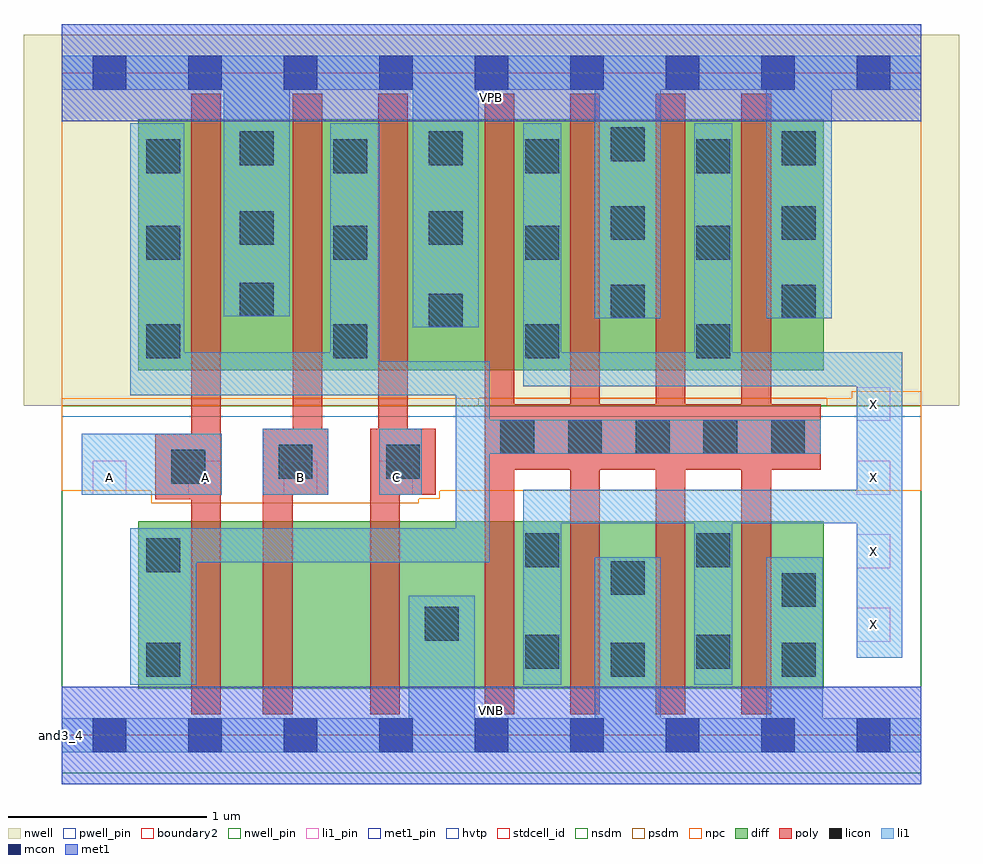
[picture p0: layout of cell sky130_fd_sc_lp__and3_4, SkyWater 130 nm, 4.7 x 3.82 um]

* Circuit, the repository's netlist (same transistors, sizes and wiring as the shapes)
* Copyright 2020 The SkyWater PDK Authors
*
* Licensed under the Apache License, Version 2.0 (the "License");
* you may not use this file except in compliance with the License.
* You may obtain a copy of the License at
*
*     https://www.apache.org/licenses/LICENSE-2.0
*
* Unless required by applicable law or agreed to in writing, software
* distributed under the License is distributed on an "AS IS" BASIS,
* WITHOUT WARRANTIES OR CONDITIONS OF ANY KIND, either express or implied.
* See the License for the specific language governing permissions and
* limitations under the License.
*
* SPDX-License-Identifier: Apache-2.0

.SUBCKT sky130_fd_sc_lp__and3_4 A B C VGND VNB VPB VPWR X
*.PININFO A:I B:I C:I VGND:I VNB:I VPB:I VPWR:I X:O
MMP0 y A VPWR VPB sky130_fd_pr__pfet_01v8_hvt m=1 w=1.26U l=0.15U mult=1 sa=0.265
+ sb=0.265 sd=0.28 area=0.063 perim=1.14
MMP1 y B VPWR VPB sky130_fd_pr__pfet_01v8_hvt m=1 w=1.26U l=0.15U mult=1 sa=0.265
+ sb=0.265 sd=0.28 area=0.063 perim=1.14
MMP2 y C VPWR VPB sky130_fd_pr__pfet_01v8_hvt m=1 w=1.26U l=0.15U mult=1 sa=0.265
+ sb=0.265 sd=0.28 area=0.063 perim=1.14
MMIP0 X y VPWR VPB sky130_fd_pr__pfet_01v8_hvt m=4 w=1.26U l=0.15U mult=1 sa=0.265
+ sb=0.265 sd=0.28 area=0.063 perim=1.14
MMN0 y A sndA VNB sky130_fd_pr__nfet_01v8 m=1 w=0.84U l=0.15U mult=1 sa=0.265 sb=0.265
+ sd=0.28 area=0.063 perim=1.14
MMN1 sndA B sndB VNB sky130_fd_pr__nfet_01v8 m=1 w=0.84U l=0.15U mult=1 sa=0.265
+ sb=0.265 sd=0.28 area=0.063 perim=1.14
MMN2 sndB C VGND VNB sky130_fd_pr__nfet_01v8 m=1 w=0.84U l=0.15U mult=1 sa=0.265
+ sb=0.265 sd=0.28 area=0.063 perim=1.14
MMIN0 X y VGND VNB sky130_fd_pr__nfet_01v8 m=4 w=0.84U l=0.15U mult=1 sa=0.265
+ sb=0.265 sd=0.28 area=0.063 perim=1.14
.ENDS sky130_fd_sc_lp__and3_4

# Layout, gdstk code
import gdstk
lib = gdstk.Library(unit=1e-6, precision=1e-09)
def R(c, l, rs):  # rectangles x0, y0, x1, y1
    for r in rs: c.add(gdstk.rectangle(r[:2], r[2:], *l))
def A(c, l, x, y, w, h, nx, ny, dx, dy):  # array of equal rectangles
    R(c, l, [(x+i*dx, y+j*dy, x+i*dx+w, y+j*dy+h) for i in range(nx) for j in range(ny)])
def P(c, l, *ps):  # polygons
    for p in ps: c.add(gdstk.Polygon(p, *l))
nwell_pin = (64, 16)
nwell = (64, 20)
diff = (65, 20)
poly = (66, 20)
licon = (66, 44)
li1_pin = (67, 16)
li1 = (67, 20)
mcon = (67, 44)
met1_pin = (68, 16)
met1 = (68, 20)
hvtp = (78, 44)
stdcell_id = (81, 4)
nsdm = (93, 44)
psdm = (94, 20)
npc = (95, 20)
pwell_pin = (122, 16)
boundary2 = (236, 0)

sky130_fd_sc_lp__and3_4 = lib.new_cell('sky130_fd_sc_lp__and3_4')
R(sky130_fd_sc_lp__and3_4, nwell_pin, [(0,3.085,4.32,3.33)])
R(sky130_fd_sc_lp__and3_4, nwell, [(-0.19,1.655,4.51,3.52)])
R(sky130_fd_sc_lp__and3_4, diff, [(0.385,0.235,3.83,1.075), (0.385,1.835,3.83,3.095)])
P(sky130_fd_sc_lp__and3_4, poly, [(0.8,3.225),(0.65,3.225),(0.65,1.515),(0.47,1.515),(0.47,1.185),(0.65,1.185),(0.65,0.105),(0.8,0.105)],
  [(1.34,1.54),(1.31,1.54),(1.31,3.225),(1.16,3.225),(1.16,1.54),(1.01,1.54),(1.01,0.105),(1.16,0.105),(1.16,1.21),(1.34,1.21)],
  [(1.88,1.54),(1.74,1.54),(1.74,3.225),(1.59,3.225),(1.59,1.54),(1.55,1.54),(1.55,0.105),(1.7,0.105),(1.7,1.21),(1.88,1.21)],
  [(3.815,1.665),(3.565,1.665),(3.565,3.225),(3.415,3.225),(3.415,1.665),(3.135,1.665),(3.135,3.225),(2.985,3.225),(2.985,1.665),(2.705,1.665),(2.705,3.225),(2.555,3.225),(2.555,1.665),(2.275,1.665),(2.275,3.225),(2.125,3.225),(2.125,0.105),(2.275,0.105),(2.275,1.335),(2.555,1.335),(2.555,0.105),(2.705,0.105),(2.705,1.335),(2.985,1.335),(2.985,0.105),(3.135,0.105),(3.135,1.335),(3.415,1.335),(3.415,0.105),(3.565,0.105),(3.565,1.335),(3.815,1.335)])
A(sky130_fd_sc_lp__and3_4, licon, 2.205, 1.415, 0.17, 0.17, 5, 1, 0.34, 0)
A(sky130_fd_sc_lp__and3_4, licon, 2.76, 2.095, 0.17, 0.17, 1, 3, 0, 0.395)
R(sky130_fd_sc_lp__and3_4, licon, [(0.425,0.295,0.595,0.465), (2.76,0.295,2.93,0.465), (3.62,0.295,3.79,0.465), (2.33,0.335,2.5,0.505), (3.19,0.335,3.36,0.505), (1.825,0.475,1.995,0.645), (3.62,0.645,3.79,0.815), (2.76,0.705,2.93,0.875), (0.425,0.82,0.595,0.99), (2.33,0.845,2.5,1.015), (3.19,0.845,3.36,1.015), (0.55,1.265,0.72,1.435), (1.09,1.29,1.26,1.46), (1.63,1.29,1.8,1.46), (0.425,1.895,0.595,2.065), (1.365,1.895,1.535,2.065), (2.33,1.895,2.5,2.065), (3.19,1.895,3.36,2.065), (1.845,2.05,2.015,2.22), (3.62,2.095,3.79,2.265), (0.895,2.105,1.065,2.275), (0.425,2.39,0.595,2.56), (1.365,2.39,1.535,2.56), (2.33,2.39,2.5,2.56), (3.19,2.39,3.36,2.56), (0.895,2.465,1.065,2.635), (1.845,2.465,2.015,2.635), (3.62,2.49,3.79,2.66), (0.425,2.825,0.595,2.995), (1.365,2.825,1.535,2.995), (2.33,2.825,2.5,2.995), (3.19,2.825,3.36,2.995), (0.895,2.865,1.065,3.035), (1.845,2.865,2.015,3.035), (3.62,2.865,3.79,3.035)])
A(sky130_fd_sc_lp__and3_4, li1_pin, 3.995, 0.47, 0.17, 0.17, 1, 4, 0, 0.37)
A(sky130_fd_sc_lp__and3_4, li1_pin, 0.155, 1.21, 0.17, 0.17, 4, 1, 0.48, 0)
R(sky130_fd_sc_lp__and3_4, li1, [(0.1,1.21,0.805,1.515), (1.01,1.21,1.34,1.54), (1.595,1.21,1.81,1.54)])
P(sky130_fd_sc_lp__and3_4, li1, [(3.815,1.585),(2.15,1.585),(2.15,1.88),(1.595,1.88),(1.595,3.075),(1.35,3.075),(1.35,1.925),(0.615,1.925),(0.615,3.075),(0.345,3.075),(0.345,1.71),(1.98,1.71),(1.98,1.04),(0.345,1.04),(0.345,0.255),(0.675,0.255),(0.675,0.87),(2.15,0.87),(2.15,1.415),(3.815,1.415)],
  [(4.32,3.415),(0,3.415),(0,3.245),(0.815,3.245),(0.815,2.105),(1.145,2.105),(1.145,3.245),(1.765,3.245),(1.765,2.05),(2.095,2.05),(2.095,3.245),(2.68,3.245),(2.68,2.095),(3.01,2.095),(3.01,3.245),(3.54,3.245),(3.54,2.095),(3.87,2.095),(3.87,3.245),(4.32,3.245)],
  [(4.225,1.925),(3.37,1.925),(3.37,3.075),(3.18,3.075),(3.18,1.925),(2.51,1.925),(2.51,3.075),(2.32,3.075),(2.32,1.755),(3.995,1.755),(3.995,1.235),(2.32,1.235),(2.32,0.255),(2.51,0.255),(2.51,1.065),(3.18,1.065),(3.18,0.255),(3.37,0.255),(3.37,1.065),(3.995,1.065),(3.995,0.39),(4.225,0.39)],
  [(4.32,0.085),(3.825,0.085),(3.825,0.895),(3.54,0.895),(3.54,0.085),(3.01,0.085),(3.01,0.895),(2.68,0.895),(2.68,0.085),(2.075,0.085),(2.075,0.7),(1.745,0.7),(1.745,0.085),(0,0.085),(0,-0.085),(4.32,-0.085)])
A(sky130_fd_sc_lp__and3_4, mcon, 0.155, -0.085, 0.17, 0.17, 9, 2, 0.48, 3.33)
R(sky130_fd_sc_lp__and3_4, met1_pin, [(0,0,4.32,0.245), (0,3.085,4.32,3.33)])
R(sky130_fd_sc_lp__and3_4, met1, [(0,-0.245,4.32,0.245), (0,3.085,4.32,3.575)])
R(sky130_fd_sc_lp__and3_4, hvtp, [(0,1.6,4.32,3.33)])
R(sky130_fd_sc_lp__and3_4, stdcell_id, [(0,0,4.32,3.33)])
R(sky130_fd_sc_lp__and3_4, nsdm, [(0,-0.19,4.32,1.655)])
P(sky130_fd_sc_lp__and3_4, psdm, [(4.32,3.52),(0,3.52),(0,1.655),(2.095,1.655),(2.095,1.695),(3.845,1.695),(3.845,1.655),(4.32,1.655)])
P(sky130_fd_sc_lp__and3_4, npc, [(4.32,1.73),(3.97,1.73),(3.97,1.695),(0,1.695),(0,1.23),(0.45,1.23),(0.45,1.165),(1.795,1.165),(1.795,1.19),(1.9,1.19),(1.9,1.23),(4.32,1.23)])
R(sky130_fd_sc_lp__and3_4, pwell_pin, [(0,0,4.32,0.245)])
R(sky130_fd_sc_lp__and3_4, boundary2, [(0,0,4.32,3.33)])
sky130_fd_sc_lp__and3_4.add(gdstk.Label('VNB', (2.16,0.123), layer=64, texttype=59))
sky130_fd_sc_lp__and3_4.add(gdstk.Label('VPB', (2.16,3.208), layer=64, texttype=5))
sky130_fd_sc_lp__and3_4.add(gdstk.Label('and3_4', (0,0), layer=83, texttype=44))
sky130_fd_sc_lp__and3_4.add(gdstk.Label('VPWR', (2.16,3.208), layer=68, texttype=5))
sky130_fd_sc_lp__and3_4.add(gdstk.Label('VGND', (2.16,0.123), layer=68, texttype=5))
sky130_fd_sc_lp__and3_4.add(gdstk.Label('A', (0.24,1.295), layer=67, texttype=5))
sky130_fd_sc_lp__and3_4.add(gdstk.Label('A', (0.72,1.295), layer=67, texttype=5))
sky130_fd_sc_lp__and3_4.add(gdstk.Label('B', (1.2,1.295), layer=67, texttype=5))
sky130_fd_sc_lp__and3_4.add(gdstk.Label('C', (1.68,1.295), layer=67, texttype=5))
sky130_fd_sc_lp__and3_4.add(gdstk.Label('X', (4.08,0.555), layer=67, texttype=5))
sky130_fd_sc_lp__and3_4.add(gdstk.Label('X', (4.08,0.925), layer=67, texttype=5))
sky130_fd_sc_lp__and3_4.add(gdstk.Label('X', (4.08,1.295), layer=67, texttype=5))
sky130_fd_sc_lp__and3_4.add(gdstk.Label('X', (4.08,1.665), layer=67, texttype=5))

lib.write_gds('sky130_fd_sc_lp__and3_4.gds')
